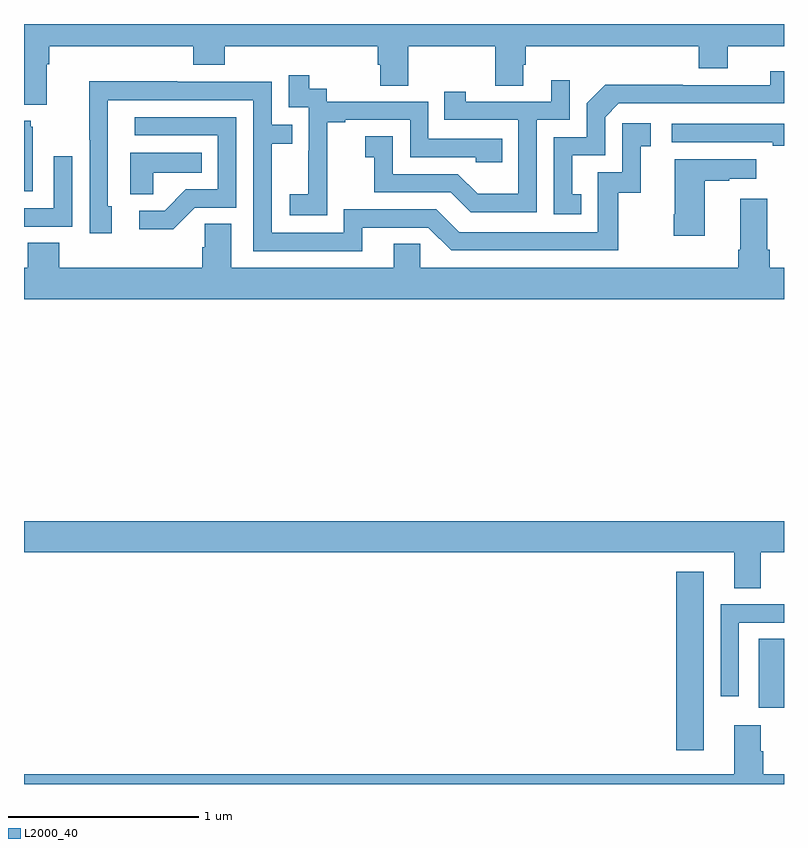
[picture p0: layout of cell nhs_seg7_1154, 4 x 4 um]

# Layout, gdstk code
import gdstk
lib = gdstk.Library(unit=1e-6, precision=1e-09)
def R(c, l, rs):  # rectangles x0, y0, x1, y1
    for r in rs: c.add(gdstk.rectangle(r[:2], r[2:], *l))
def P(c, l, *ps):  # polygons
    for p in ps: c.add(gdstk.Polygon(p, *l))
L2000_40 = (2000, 40)

nhs_seg7_1154 = lib.new_cell('nhs_seg7_1154')
R(nhs_seg7_1154, L2000_40, [(194.432,1062.177,194.578,1063.117), (194.867,1062.402,195,1062.764)])
P(nhs_seg7_1154, L2000_40, [(191.119,1065.788),(191.132,1065.788),(191.132,1065.884),(191.891,1065.884),(191.891,1065.785),(192.056,1065.785),(192.056,1065.884),(192.863,1065.884),(192.863,1065.786),(192.875,1065.786),(192.875,1065.676),(193.023,1065.676),(193.023,1065.884),(193.48,1065.884),(193.48,1065.676),(193.627,1065.676),(193.627,1065.786),(193.64,1065.786),(193.64,1065.884),(194.552,1065.884),(194.552,1065.767),(194.704,1065.767),(194.704,1065.884),(195,1065.884),(195,1066),(191,1066),(191,1065.575),(191.119,1065.575)],
  [(193.934,1065.105),(193.885,1065.105),(193.885,1065.309),(194.058,1065.309),(194.058,1065.51),(194.13,1065.582),(195,1065.582),(195,1065.751),(194.928,1065.751),(194.928,1065.678),(194.468,1065.678),(194.468,1065.68),(194.06,1065.68),(193.962,1065.582),(193.962,1065.405),(193.788,1065.405),(193.788,1065),(193.934,1065)],
  [(192.597,1065.199),(192.596,1065.199),(192.596,1065.483),(192.691,1065.483),(192.691,1065.495),(193.032,1065.495),(193.032,1065.3),(193.377,1065.3),(193.377,1065.273),(193.517,1065.273),(193.517,1065.396),(193.128,1065.396),(193.128,1065.591),(192.594,1065.591),(192.594,1065.66),(192.502,1065.66),(192.502,1065.73),(192.393,1065.73),(192.393,1065.561),(192.498,1065.561),(192.498,1065.332),(192.497,1065.332),(192.497,1065.103),(192.399,1065.103),(192.399,1064.993),(192.597,1064.993)],
  [(193.698,1065.495),(193.872,1065.495),(193.872,1065.703),(193.775,1065.703),(193.775,1065.591),(193.324,1065.591),(193.324,1065.643),(193.213,1065.643),(193.213,1065.495),(193.602,1065.495),(193.602,1065.106),(193.388,1065.106),(193.284,1065.21),(192.942,1065.21),(192.942,1065.409),(192.795,1065.409),(192.795,1065.299),(192.844,1065.299),(192.844,1065.114),(193.247,1065.114),(193.352,1065.009),(193.698,1065.009)],
  [(192.781,1064.928),(193.128,1064.928),(193.248,1064.808),(194.128,1064.808),(194.128,1065.111),(194.246,1065.111),(194.246,1065.357),(194.299,1065.357),(194.299,1065.478),(194.148,1065.478),(194.148,1065.219),(194.019,1065.219),(194.019,1064.904),(193.29,1064.904),(193.17,1065.024),(192.684,1065.024),(192.684,1064.901),(192.303,1064.901),(192.303,1065.37),(192.413,1065.37),(192.413,1065.471),(192.303,1065.471),(192.303,1065.696),(191.807,1065.696),(191.807,1065.698),(191.344,1065.698),(191.344,1065.391),(191.346,1065.391),(191.346,1064.898),(191.461,1064.898),(191.461,1065.042),(191.442,1065.042),(191.442,1065.6),(192.207,1065.6),(192.207,1064.805),(192.781,1064.805)],
  [(191.898,1065.033),(192.117,1065.033),(192.117,1065.51),(191.583,1065.51),(191.583,1065.414),(192.021,1065.414),(192.021,1065.129),(191.852,1065.129),(191.741,1065.018),(191.607,1065.018),(191.607,1064.921),(191.785,1064.921)],
  [(191.047,1065.459),(191.036,1065.459),(191.036,1065.49),(191,1065.49),(191,1065.119),(191.047,1065.119)],
  [(195,1065.474),(194.409,1065.474),(194.409,1065.378),(194.941,1065.378),(194.941,1065.358),(195,1065.358)],
  [(191.679,1065.218),(191.936,1065.218),(191.936,1065.322),(191.558,1065.322),(191.558,1065.103),(191.679,1065.103)],
  [(191.253,1065.304),(191.157,1065.304),(191.157,1065.03),(191,1065.03),(191,1064.934),(191.253,1064.934)],
  [(194.584,1065.175),(194.711,1065.175),(194.711,1065.185),(194.854,1065.185),(194.854,1065.289),(194.426,1065.289),(194.426,1064.998),(194.419,1064.998),(194.419,1064.886),(194.584,1064.886)],
  [(195,1064.716),(194.924,1064.716),(194.924,1064.812),(194.911,1064.812),(194.911,1065.079),(194.771,1065.079),(194.771,1064.812),(194.759,1064.812),(194.759,1064.716),(193.086,1064.716),(193.086,1064.843),(192.947,1064.843),(192.947,1064.716),(192.091,1064.716),(192.091,1064.948),(191.952,1064.948),(191.952,1064.825),(191.939,1064.825),(191.939,1064.716),(191.186,1064.716),(191.186,1064.849),(191.021,1064.849),(191.021,1064.716),(191,1064.716),(191,1064.552),(195,1064.552)],
  [(191,1063.22),(194.738,1063.22),(194.738,1063.03),(194.878,1063.03),(194.878,1063.22),(195,1063.22),(195,1063.384),(191,1063.384)],
  [(194.763,1062.849),(195,1062.849),(195,1062.945),(194.667,1062.945),(194.667,1062.462),(194.763,1062.462)],
  [(195,1062.052),(194.891,1062.052),(194.891,1062.173),(194.878,1062.173),(194.878,1062.31),(194.738,1062.31),(194.738,1062.052),(191,1062.052),(191,1062),(195,1062)])

lib.write_gds('nhs_seg7_1154.gds')
